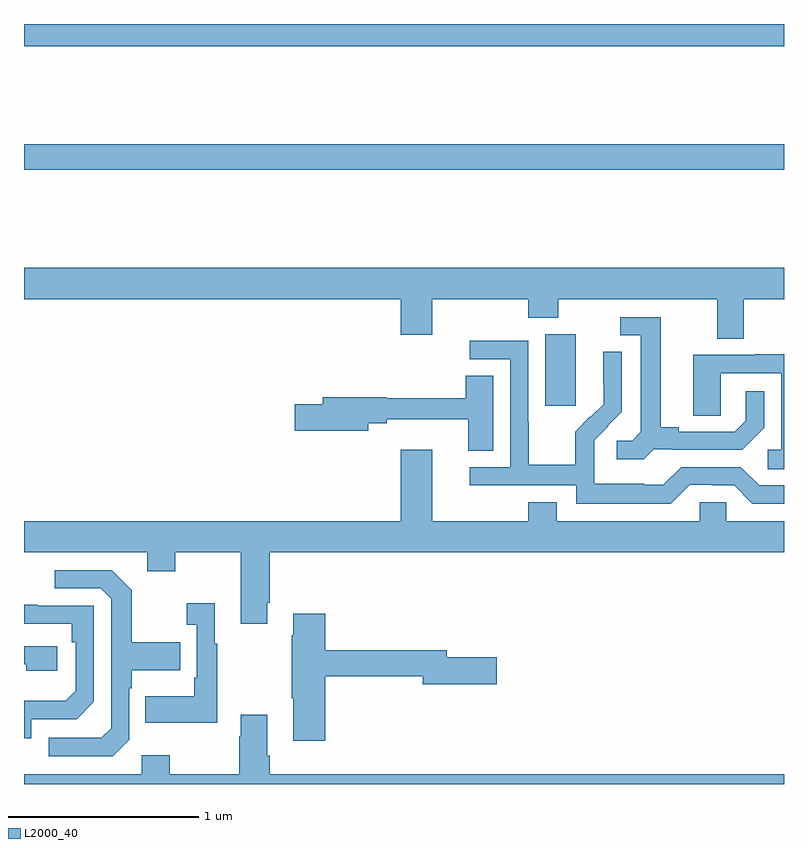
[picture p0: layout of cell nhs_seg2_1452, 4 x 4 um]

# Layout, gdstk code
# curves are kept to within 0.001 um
import gdstk
lib = gdstk.Library(unit=1e-6, precision=1e-09)
def R(c, l, rs):  # rectangles x0, y0, x1, y1
    for r in rs: c.add(gdstk.rectangle(r[:2], r[2:], *l))
def P(c, l, *ps):  # polygons
    for p in ps: c.add(gdstk.Polygon(p, *l))
L2000_40 = (2000, 40)

nhs_seg2_1452 = lib.new_cell('nhs_seg2_1452')
R(nhs_seg2_1452, L2000_40, [(189.743,597.792,189.904,598.168), (187,599.032,191,599.168), (187,599.684,191,599.8)])
P(nhs_seg2_1452, L2000_40, [(190.789,598.352),(191,598.352),(191,598.516),(187,598.516),(187,598.352),(188.984,598.352),(188.984,598.164),(189.148,598.164),(189.148,598.352),(189.653,598.352),(189.653,598.253),(189.813,598.253),(189.813,598.352),(190.649,598.352),(190.649,598.144),(190.789,598.144)],
  [(190.314,597.561),(190.408,597.561),(190.408,597.558),(190.78,597.558),(190.896,597.674),(190.896,597.868),(190.799,597.868),(190.799,597.711),(190.742,597.654),(190.447,597.654),(190.447,597.677),(190.351,597.677),(190.351,598.257),(190.137,598.257),(190.137,598.161),(190.247,598.161),(190.247,597.653),(190.2,597.606),(190.119,597.606),(190.119,597.509),(190.262,597.509)],
  [(190.503,597.375),(190.619,597.375),(190.619,597.372),(190.737,597.372),(190.833,597.276),(191,597.276),(191,597.372),(190.869,597.372),(190.773,597.468),(190.458,597.468),(190.365,597.375),(190.265,597.375),(190.265,597.379),(190.002,597.379),(190.002,597.513),(190,597.513),(190,597.61),(190.146,597.758),(190.146,598.076),(190.049,598.076),(190.049,597.904),(190.052,597.904),(190.052,597.8),(189.981,597.729),(189.978,597.732),(189.901,597.655),(189.901,597.481),(189.657,597.481),(189.657,597.704),(189.654,597.704),(189.654,598.134),(189.345,598.134),(189.345,598.035),(189.558,598.035),(189.558,597.468),(189.345,597.468),(189.345,597.372),(189.906,597.372),(189.906,597.275),(190.403,597.275)],
  [(191,598.063),(190.847,598.063),(190.847,598.059),(190.523,598.059),(190.523,597.739),(190.668,597.739),(190.668,597.963),(190.986,597.963),(190.986,597.558),(190.914,597.558),(190.914,597.457),(191,597.457)],
  [(189.469,597.95),(189.326,597.95),(189.326,597.829),(188.908,597.829),(188.908,597.836),(188.573,597.836),(188.573,597.8),(188.424,597.8),(188.424,597.658),(188.812,597.658),(188.812,597.7),(188.908,597.7),(188.908,597.719),(189.338,597.719),(189.338,597.553),(189.469,597.553)],
  [(188.281,596.755),(188.294,596.755),(188.294,597.02),(191,597.02),(191,597.184),(190.695,597.184),(190.695,597.282),(190.557,597.282),(190.557,597.184),(189.805,597.184),(189.805,597.283),(189.653,597.283),(189.653,597.184),(189.148,597.184),(189.148,597.559),(188.984,597.559),(188.984,597.184),(187,597.184),(187,597.02),(187.649,597.02),(187.649,596.921),(187.797,596.921),(187.797,597.02),(188.141,597.02),(188.141,596.643),(188.281,596.643)],
  [(187.554,596.034),(187.554,596.303),(187.567,596.303),(187.567,596.399),(187.823,596.399),(187.823,596.547),(187.567,596.547),(187.567,596.819),(187.461,596.925),(187.161,596.925),(187.161,596.829),(187.404,596.829),(187.458,596.775),(187.458,596.094),(187.407,596.043),(187.131,596.043),(187.131,595.947),(187.467,595.947)],
  [(188.017,596.539),(188.005,596.539),(188.005,596.752),(187.857,596.752),(187.857,596.639),(187.908,596.639),(187.908,596.359),(187.896,596.359),(187.896,596.263),(187.639,596.263),(187.639,596.123),(188.017,596.123)],
  [(187.038,596.142),(187.278,596.142),(187.368,596.232),(187.368,596.739),(187.073,596.739),(187.073,596.744),(187,596.744),(187,596.643),(187.252,596.643),(187.252,596.546),(187.272,596.546),(187.272,596.292),(187.219,596.239),(187,596.239),(187,596.04),(187.038,596.04)],
  [(188.585,596.368),(189.098,596.368),(189.098,596.326),(189.487,596.326),(189.487,596.468),(189.226,596.468),(189.226,596.504),(188.585,596.504),(188.585,596.695),(188.417,596.695),(188.417,596.582),(188.41,596.582),(188.41,596.251),(188.417,596.251),(188.417,596.028),(188.585,596.028)],
  [(187.174,596.526),(187,596.526),(187,596.43),(187.013,596.43),(187.013,596.396),(187.174,596.396)],
  [(191,595.852),(188.294,595.852),(188.294,595.948),(188.281,595.948),(188.281,596.164),(188.141,596.164),(188.141,596.051),(188.134,596.051),(188.134,595.852),(187.767,595.852),(187.767,595.951),(187.62,595.951),(187.62,595.852),(187,595.852),(187,595.8),(191,595.8)])

lib.write_gds('nhs_seg2_1452.gds')
